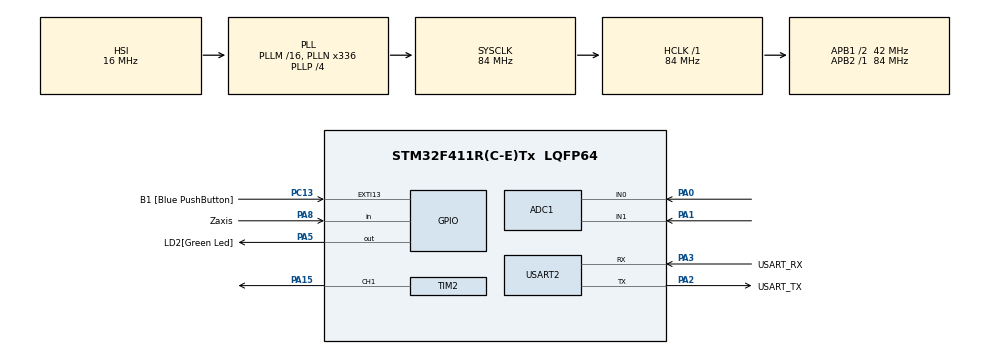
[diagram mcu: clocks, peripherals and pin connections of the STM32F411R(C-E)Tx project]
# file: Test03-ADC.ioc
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ADC1.Channel-1\#ChannelRegularConversion=ADC_CHANNEL_0
ADC1.Channel-2\#ChannelRegularConversion=ADC_CHANNEL_1
ADC1.DMAContinuousRequests=ENABLE
ADC1.DiscontinuousConvMode=ENABLE
ADC1.EOCSelection=ADC_EOC_SEQ_CONV
ADC1.ExternalTrigConv=ADC_EXTERNALTRIGCONV_T3_TRGO
ADC1.ExternalTrigConvEdge=ADC_EXTERNALTRIGCONVEDGE_FALLING
ADC1.NbrOfConversion=2
ADC1.NbrOfConversionFlag=1
ADC1.Rank-1\#ChannelRegularConversion=1
ADC1.Rank-2\#ChannelRegularConversion=2
ADC1.SamplingTime-1\#ChannelRegularConversion=ADC_SAMPLETIME_3CYCLES
ADC1.SamplingTime-2\#ChannelRegularConversion=ADC_SAMPLETIME_3CYCLES
ADC1.ScanConvMode=ENABLE
ADC1.master=1
Dma.ADC1.0.Direction=DMA_PERIPH_TO_MEMORY
Dma.ADC1.0.FIFOMode=DMA_FIFOMODE_DISABLE
Dma.ADC1.0.Instance=DMA2_Stream0
Dma.ADC1.0.MemDataAlignment=DMA_MDATAALIGN_HALFWORD
Dma.ADC1.0.MemInc=DMA_MINC_ENABLE
Dma.ADC1.0.Mode=DMA_CIRCULAR
Dma.ADC1.0.PeriphDataAlignment=DMA_PDATAALIGN_HALFWORD
Dma.ADC1.0.PeriphInc=DMA_PINC_DISABLE
Dma.ADC1.0.Priority=DMA_PRIORITY_LOW
Dma.Request0=ADC1
Mcu.Family=STM32F4
Mcu.Name=STM32F411R(C-E)Tx
Mcu.Package=LQFP64
NVIC.DMA2_Stream0_IRQn=true\:0\:0\:false\:false\:true\:false\:true\:true
NVIC.PriorityGroup=NVIC_PRIORITYGROUP_0
NVIC.TIM3_IRQn=true\:0\:0\:false\:false\:true\:true\:true\:true
PA0-WKUP.Signal=ADCx_IN0
PA1.Signal=ADCx_IN1
PA13.GPIO_Label=TMS
PA13.Mode=Serial_Wire
PA13.Signal=SYS_JTMS-SWDIO
PA14.GPIO_Label=TCK
PA14.Mode=Serial_Wire
PA14.Signal=SYS_JTCK-SWCLK
PA15.Signal=S_TIM2_CH1_ETR
PA2.GPIO_Label=USART_TX
PA2.Mode=Asynchronous
PA2.Signal=USART2_TX
PA3.GPIO_Label=USART_RX
PA3.Mode=Asynchronous
PA3.Signal=USART2_RX
PA5.GPIO_Label=LD2[Green Led]
PA5.Signal=GPIO_Output
PA8.GPIO_Label=Zaxis
PA8.GPIO_PuPd=GPIO_PULLUP
PA8.Signal=GPIO_Input
PB3.GPIO_Label=SWO
PB3.Signal=SYS_JTDO-SWO
PC13-ANTI_TAMP.GPIO_Label=B1 [Blue PushButton]
PC13-ANTI_TAMP.GPIO_ModeDefaultEXTI=GPIO_MODE_IT_FALLING
PC13-ANTI_TAMP.Signal=GPXTI13
PC14-OSC32_IN.Mode=LSE-External-Oscillator
PC14-OSC32_IN.Signal=RCC_OSC32_IN
PC15-OSC32_OUT.Mode=LSE-External-Oscillator
PC15-OSC32_OUT.Signal=RCC_OSC32_OUT
PH0\ -\ OSC_IN.Mode=HSE-External-Clock-Source
PH0\ -\ OSC_IN.Signal=RCC_OSC_IN
PH1\ -\ OSC_OUT.Mode=HSE-External-Clock-Source
PH1\ -\ OSC_OUT.Signal=RCC_OSC_OUT
ProjectManager.HeapSize=0x200
ProjectManager.StackSize=0x400
ProjectManager.TargetToolchain=STM32CubeIDE
RCC.48MHZClocksFreq_Value=84000000
RCC.AHBFreq_Value=84000000
RCC.APB1CLKDivider=RCC_HCLK_DIV2
RCC.APB1Freq_Value=42000000
RCC.APB1TimFreq_Value=84000000
RCC.APB2Freq_Value=84000000
RCC.APB2TimFreq_Value=84000000
RCC.CortexFreq_Value=84000000
RCC.FLatency-AdvancedSettings=FLASH_LATENCY_2
RCC.HCLKFreq_Value=84000000
RCC.HSE_VALUE=8000000
RCC.HSI_VALUE=16000000
RCC.PLLN=336
RCC.PLLP=RCC_PLLP_DIV4
RCC.SYSCLKFreq_VALUE=84000000
RCC.SYSCLKSource=RCC_SYSCLKSOURCE_PLLCLK
RCC.VCOOutputFreq_Value=336000000
SH.ADCx_IN0.0=ADC1_IN0,IN0
SH.ADCx_IN1.0=ADC1_IN1,IN1
SH.S_TIM2_CH1_ETR.0=TIM2_CH1,PWM Generation1 CH1
TIM2.Channel-PWM\ Generation1\ CH1=TIM_CHANNEL_1
TIM2.Period=1000-1
TIM2.Prescaler=84-1
TIM3.Period=10000-1
TIM3.Prescaler=4200-1
TIM3.TIM_MasterOutputTrigger=TIM_TRGO_UPDATE
USART2.VirtualMode=VM_ASYNC
VP_TIM2_VS_ClockSourceINT.Mode=Internal
VP_TIM3_VS_ClockSourceINT.Mode=Internal
board=NUCLEO-F411RE

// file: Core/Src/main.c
/* USER CODE BEGIN Header */
/**
  ******************************************************************************
  * @file           : main.c
  * @brief          : Main program body
  ******************************************************************************
  * @attention
  *
  * Copyright (c) 2023 STMicroelectronics.
  * All rights reserved.
  *
  * This software is licensed under terms that can be found in the LICENSE file
  * in the root directory of this software component.
  * If no LICENSE file comes with this software, it is provided AS-IS.
  *
  ******************************************************************************
  */
/* USER CODE END Header */
#include "main.h"
#include "adc.h"
#include "dma.h"
#include "tim.h"
#include "usart.h"
#include "gpio.h"

/* USER CODE BEGIN Includes */
#include "../../../myLib/Src/myLib.c" // same level with project
									  // Core/Test03-ADC/ARM/myLib .....
/* USER CODE END Includes */

/* USER CODE BEGIN PV */
short dValue[2] = { 0 }; // char(1) short(2) int(4, old int 2) long(4)

int xValue = -1; // "-1" is not generated from ADC, ADC => 0 ~ 4095
int yValue = -1;
int n = 0;
/* USER CODE END PV */

void SystemClock_Config(void);
/* USER CODE BEGIN PFP */
/* Single Conversion ------------------- */
//int getADCValue()
//{
//	HAL_ADC_Start(&hadc1); // Sampling -> Shift -> Shift Register & adding dummy process start
//
//	HAL_ADC_PollForConversion(&hadc1, 100); // stay until conversion finish, waiting()
//
//	int val = HAL_ADC_GetValue(&hadc1); // just read data (0 ~ 4095)
//
//	return val;
//}
/* ------------------------------------ */

//void noOperation()
//{
//
//}
//
//void myDelay(int ms)
//{
//	// make some delay with do nothing
//	for(int j = 0; j < ms; j++)
//	{
//		for(int i = 0; i < 500; i++)
//		{
//			noOperation();
//		}
//	}
//}

/*
void HAL_ADC_ConvCpltCallback(ADC_HandleTypeDef* hadc) // it only use 1 time
{
	// not used in main function
	// can't use return value

	// n is for channel info, Interrupt has no channel info

	if(!n)
	{
		xValue = HAL_ADC_GetValue(&hadc1);

		n++;
	}
	else
	{
		yValue = HAL_ADC_GetValue(&hadc1);
		printf("(interrupt) X value : %d\r\n", xValue);
		printf("(interrupt) Y value : %d\r\n", yValue);
		printf("(interrupt) Z value : %d\r\n\n", HAL_GPIO_ReadPin(Zaxis_GPIO_Port, Zaxis_Pin));

		n = 0;
	}

	myDelay(5000);
//
//	HAL_ADC_Start_IT(&hadc1); // make ready for next interrupt
}*/

/* USER CODE END PFP */

int main(void)
{

  /* MCU Configuration--------------------------------------------------------*/

  /* Reset of all peripherals, Initializes the Flash interface and the Systick. */
  HAL_Init();

  /* Configure the system clock */
  SystemClock_Config();

  /* Initialize all configured peripherals */
  MX_GPIO_Init();
  MX_DMA_Init();
  MX_USART2_UART_Init();
  MX_ADC1_Init();
  MX_TIM3_Init();
  MX_TIM2_Init();
  /* USER CODE BEGIN 2 */

//  HAL_TIM_Base_Start(&htim2);
//
//  htim2.Instance->CNT = 0;
//  for(int i = 0; i < 100; i++)
//  {
//	  noOperation();
//  }
//  volatile int tt = htim2.Instance->CNT;
//
//  printf("noOperation function calling time : %d\r\n", tt);

  printf("\033[1J\033[1;1HProgram Started......\r\n");

  HAL_TIM_Base_Start(&htim3);

  //HAL_ADC_Start_IT(&hadc1);

  HAL_ADC_Start_DMA(&hadc1, (int*)dValue, sizeof(short)); // pData => DMA Memory address

  printf("ADC DMA started.....\r\n");

  HAL_TIM_PWM_Start(&htim2, TIM_CHANNEL_1);
  /* USER CODE END 2 */

  /* Infinite loop */
  /* USER CODE BEGIN WHILE */
  while (1)
  {
	  /* Single Conversion --------------------- */
//	  printf("X value : %d\r\n", getADCValue());
//	  printf("Y value : %d\r\n", getADCValue());
//	  printf("Z value : %d\r\n\n", HAL_GPIO_ReadPin(Zaxis_GPIO_Port, Zaxis_Pin));
//
//	  HAL_Delay(500);
	  /* --------------------------------------- */

	  /* Interrupt ----------------------------- */

	  // can't move out from interrupt loop

	  /* --------------------------------------- */

	  /* DMA ----------------------------------- */

	  printf("X value : %d\r\n", dValue[0]); // access to DMA Array
	  printf("Y value : %d\r\n", dValue[1]);
	  printf("Z value : %d\r\n\n", HAL_GPIO_ReadPin(Zaxis_GPIO_Port, Zaxis_Pin));

	  int targetVal = dValue[0] * 1000 / 4095;

	  printf("Conversion : %d\r\n", targetVal);

	  htim2.Instance->CCR1 = targetVal;

	  myDelay(500*1000);

	  /* --------------------------------------- */

    /* USER CODE END WHILE */

  }
}

void SystemClock_Config(void)
{
  RCC_OscInitTypeDef RCC_OscInitStruct = {0};
  RCC_ClkInitTypeDef RCC_ClkInitStruct = {0};

  /** Configure the main internal regulator output voltage
  */
  __HAL_RCC_PWR_CLK_ENABLE();
  __HAL_PWR_VOLTAGESCALING_CONFIG(PWR_REGULATOR_VOLTAGE_SCALE1);

  /** Initializes the RCC Oscillators according to the specified parameters
  * in the RCC_OscInitTypeDef structure.
  */
  RCC_OscInitStruct.OscillatorType = RCC_OSCILLATORTYPE_HSI;
  RCC_OscInitStruct.HSIState = RCC_HSI_ON;
  RCC_OscInitStruct.HSICalibrationValue = RCC_HSICALIBRATION_DEFAULT;
  RCC_OscInitStruct.PLL.PLLState = RCC_PLL_ON;
  RCC_OscInitStruct.PLL.PLLSource = RCC_PLLSOURCE_HSI;
  RCC_OscInitStruct.PLL.PLLM = 16;
  RCC_OscInitStruct.PLL.PLLN = 336;
  RCC_OscInitStruct.PLL.PLLP = RCC_PLLP_DIV4;
  RCC_OscInitStruct.PLL.PLLQ = 4;
  if (HAL_RCC_OscConfig(&RCC_OscInitStruct) != HAL_OK)
  {
    Error_Handler();
  }

  /** Initializes the CPU, AHB and APB buses clocks
  */
  RCC_ClkInitStruct.ClockType = RCC_CLOCKTYPE_HCLK|RCC_CLOCKTYPE_SYSCLK
                              |RCC_CLOCKTYPE_PCLK1|RCC_CLOCKTYPE_PCLK2;
  RCC_ClkInitStruct.SYSCLKSource = RCC_SYSCLKSOURCE_PLLCLK;
  RCC_ClkInitStruct.AHBCLKDivider = RCC_SYSCLK_DIV1;
  RCC_ClkInitStruct.APB1CLKDivider = RCC_HCLK_DIV2;
  RCC_ClkInitStruct.APB2CLKDivider = RCC_HCLK_DIV1;

  if (HAL_RCC_ClockConfig(&RCC_ClkInitStruct, FLASH_LATENCY_2) != HAL_OK)
  {
    Error_Handler();
  }
}

void Error_Handler(void)
{
  __disable_irq();
  while (1)
  {
  }
}
